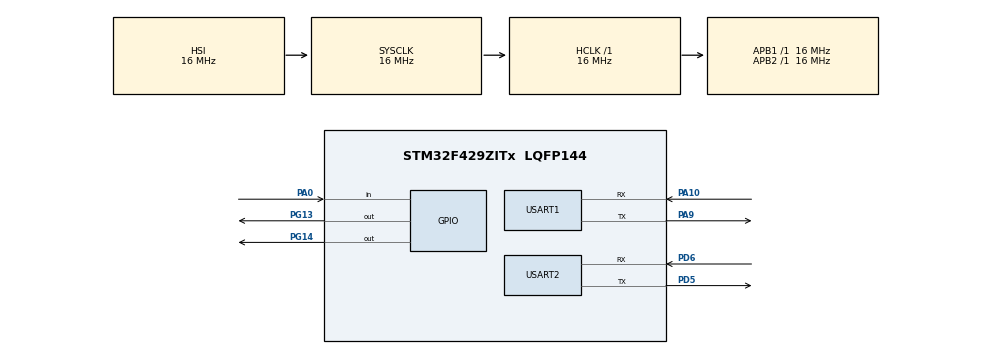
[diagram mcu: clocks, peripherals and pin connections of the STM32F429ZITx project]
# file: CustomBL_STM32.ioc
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Mcu.Family=STM32F4
Mcu.Name=STM32F429ZITx
Mcu.Package=LQFP144
NVIC.PriorityGroup=NVIC_PRIORITYGROUP_4
PA0/WKUP.Signal=GPIO_Input
PA10.Mode=Asynchronous
PA10.Signal=USART1_RX
PA9.Mode=Asynchronous
PA9.Signal=USART1_TX
PD5.Mode=Asynchronous
PD5.Signal=USART2_TX
PD6.Mode=Asynchronous
PD6.Signal=USART2_RX
PG13.GPIO_PuPd=GPIO_PULLDOWN
PG13.Signal=GPIO_Output
PG14.GPIO_PuPd=GPIO_PULLDOWN
PG14.Signal=GPIO_Output
ProjectManager.HeapSize=0x200
ProjectManager.StackSize=0x400
ProjectManager.TargetToolchain=MDK-ARM V5.32
RCC.AHBFreq_Value=16000000
RCC.APB1Freq_Value=16000000
RCC.APB2Freq_Value=16000000
RCC.CortexFreq_Value=16000000
RCC.HSE_VALUE=25000000
RCC.HSI_VALUE=16000000
RCC.LSE_VALUE=32768
RCC.SYSCLKFreq_VALUE=16000000
RCC.VCOOutputFreq_Value=192000000
USART1.VirtualMode=VM_ASYNC
USART2.VirtualMode=VM_ASYNC
VP_CRC_VS_CRC.Mode=CRC_Activate
board=custom

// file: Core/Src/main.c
/* USER CODE BEGIN Header */
/**
  ******************************************************************************
  * @file           : main.c
  * @brief          : Main program body
  ******************************************************************************
  * @attention
  *
  * Copyright (c) 2023 STMicroelectronics.
  * All rights reserved.
  *
  * This software is licensed under terms that can be found in the LICENSE file
  * in the root directory of this software component.
  * If no LICENSE file comes with this software, it is provided AS-IS.
  *
  ******************************************************************************
  */
/* USER CODE END Header */
#include <string.h>
#include <stdarg.h>
#include <stdio.h>
#include <math.h>
#include "main.h"

CRC_HandleTypeDef hcrc;

UART_HandleTypeDef huart1;
UART_HandleTypeDef huart2;

#define COM_UART huart1
#define DEBUG_UART huart2

uint8_t rx_buff[200];

void SystemClock_Config(void);
static void MX_GPIO_Init(void);
static void MX_USART1_UART_Init(void);
static void MX_USART2_UART_Init(void);
static void MX_CRC_Init(void);

/* USER CODE BEGIN 0 */

void bootloader_sendMessage(UART_HandleTypeDef UARTx, char* str)
{
	HAL_UART_Transmit(&UARTx, (uint8_t *)str, strlen(str), HAL_MAX_DELAY);
}

void bootloader_printDebugMsg(char* message, ...)
{
	char str[50];
	va_list args;
	va_start(args, message);
	vsprintf(str, message, args);
	bootloader_sendMessage(DEBUG_UART, str);
}

void BL_uart_read_data(void)
{
	uint8_t rcv_len;

	/* Command format
	 * ---------------------------------------------------------------------------
	 * | 1 byte length | 1 byte command | <command specific fields> | 4 byte CRC |
	 * ---------------------------------------------------------------------------
   *
   * read length -> read rest of the frame -> decode cmd -> call relevant function
	*/

	while(1)
	{
    memset(rx_buff, 0, 100);
		rcv_len = 0;
		bootloader_printDebugMsg("Enter Command\r\n");

		// Get the number of bytes to receive
		HAL_UART_Receive(&COM_UART, rx_buff, 1, HAL_MAX_DELAY);
    rcv_len = rx_buff[0];

    // Get the remaining frame
		HAL_UART_Receive(&COM_UART, &rx_buff[1], rcv_len, HAL_MAX_DELAY);
  	bootloader_printDebugMsg("RXed Cmd Code: 0x%x\r\n", rx_buff[1]);

		// decode the received command
		uint8_t cmd_code = rx_buff[1];
		switch(cmd_code)
		{
			case BL_GET_VER:
				bootloader_handle_getver_cmd(rx_buff);
				break;
      case BL_GET_HELP:
        bootloader_handle_gethelp_cmd(rx_buff);
				break;
      case BL_GET_CID:
        bootloader_handle_getcid_cmd(rx_buff);
				break;
      case BL_GET_RDP_STATUS:
        bootloader_handle_getrdp_cmd(rx_buff);
				break;
      case BL_GO_TO_ADDR:
        bootloader_handle_go_cmd(rx_buff);
				break;
      case BL_FLASH_ERASE:
        bootloader_handle_flash_erase_cmd(rx_buff);
				break;
      case BL_MEM_WRITE:
        bootloader_handle_mem_write_cmd(rx_buff);
				break;
      case BL_EN_RW_PROTECT:
        bootloader_handle_en_rw_protect(rx_buff);
				break;
      case BL_MEM_READ:
        bootloader_handle_mem_read(rx_buff);
				break;
      case BL_READ_SECTOR_P_STATUS:
        bootloader_handle_read_sector_protection_status(rx_buff);
				break;
      case BL_OTP_READ:
        bootloader_handle_read_otp(rx_buff);
				break;
      case BL_DIS_R_W_PROTECT:
        bootloader_handle_dis_rw_protect(rx_buff);
				break;
      case BL_UPDATE_IMAGE:
        bootloader_handle_image_update(rx_buff);
				break;
			default:
				bootloader_printDebugMsg("INVALID COMMAND: 0x%x\r\n", cmd_code);
		}
	}
}

void bootloader_set_msp_and_jump_to_reset_handler(uint32_t image_base_address)
{
	// First set the MSP
	uint32_t MSP = *((volatile uint32_t *) image_base_address);
	bootloader_printDebugMsg("Setting MSP to 0x%X\r\n", MSP);
	__set_MSP(MSP);

	// Calculate and Jump to reset handler
	uint32_t reset_handler_address = *((volatile uint32_t *) (image_base_address + 4));
	reset_handler_address |= 0x1;  // Make T bit 1

	bootloader_printDebugMsg("Reset Handler Address: 0x%x\r\n", reset_handler_address);

	void (*reset_handler) (void);
	reset_handler = (void*) reset_handler_address;
	bootloader_printDebugMsg("Jumping to image...\r\n");
	reset_handler();
}

/* USER CODE END 0 */

int main(void)
{

  /* MCU Configuration--------------------------------------------------------*/

  /* Reset of all peripherals, Initializes the Flash interface and the Systick. */
  HAL_Init();

  /* Configure the system clock */
  SystemClock_Config();

  /* Initialize all configured peripherals */
  MX_GPIO_Init();
  MX_USART1_UART_Init();
  MX_USART2_UART_Init();
  MX_CRC_Init();

  /* Infinite loop */
  while (1)
  {
		if (HAL_GPIO_ReadPin(GPIOA, GPIO_PIN_0))  // check if User button PA0 pressed
		{
			bootloader_printDebugMsg("Button pressed\r\n");
			BL_uart_read_data();
		}
		else
		{
			bootloader_printDebugMsg("Button released\r\n");
			/*
			Image selection policy:
			1/ Load image A and verify CRC
			2/ Load image B and verify CRC
			3/ if both CRC are correct, load the one with higher version number
			3.1/ if version is same, default to A
			3.2/ TODO(if version is different, fisrt update the one with lower version, later)
			4/ if only one CRC is correct, first update the other one
			5/ if both CRC are incorrect, print an error message and wait for reset
			*/
			IMAGE_data_TypeDef *pImageAData = IMAGE_A_DATA;
			IMAGE_data_TypeDef *pImageBData = IMAGE_B_DATA;

			pImageAData->image_base_address = IMAGE_A_BASE_ADDRESS;
			pImageBData->image_base_address = IMAGE_B_BASE_ADDRESS;

			uint8_t imageACrcValid = verify_image_crc(pImageAData) == VERIFY_CRC_SUCCESS;
			bootloader_printDebugMsg("Validating CRC of IMAGE A. CRC Valid: %d\r\n", imageACrcValid);

			uint8_t imageBCrcValid = verify_image_crc(pImageBData) == VERIFY_CRC_SUCCESS;
			bootloader_printDebugMsg("Validating CRC of IMAGE B. CRC Valid: %d\r\n", imageBCrcValid);

			bootloader_printDebugMsg("CRC validation complete\r\n");

			if (imageACrcValid && imageBCrcValid)
			{
				// case when both images have correct CRC
				bootloader_printDebugMsg("\r\nBoth images VALID.\r\n");
				if (pImageAData->version >= pImageBData->version)
				{
					// TODO(also update the other image, later)
					bootloader_boot_from_image(pImageAData);
				}
				else
				{
  				// TODO(also update the other image, later)
					bootloader_boot_from_image(pImageBData);
				}
			}
			else if (imageACrcValid)
			{
				// only image A CRC was correct
  			    // TODO(also update the other image instead of just erasing, later)
				IMAGE_data_TypeDef resetImageB = bootloader_get_reset_image_settings(pImageBData);
				execute_flash_erase(resetImageB.sector, 1);
				bootloader_write_image_settings(pImageBData, resetImageB);

				bootloader_boot_from_image(pImageAData);
			}
			else if (imageBCrcValid)
			{
				// only image B CRC was correct
				// TODO(also update the other image instead of just erasing, later)
				IMAGE_data_TypeDef resetImageA = bootloader_get_reset_image_settings(pImageAData);
				execute_flash_erase(resetImageA.sector, 1);
				bootloader_write_image_settings(pImageAData, resetImageA);

				bootloader_boot_from_image(pImageBData);
			}
			else
			{
				// both images are invalid
				bootloader_printDebugMsg("ERROR !!!\r\nBOTH IMAGES ARE INVALID.\r\n");

				IMAGE_data_TypeDef resetImageA = bootloader_get_reset_image_settings(pImageAData);
				IMAGE_data_TypeDef resetImageB = bootloader_get_reset_image_settings(pImageBData);

				// erase the sectors
				execute_flash_erase(resetImageA.sector, 1);
				execute_flash_erase(resetImageB.sector, 1);

				bootloader_write_image_settings(pImageAData, resetImageA);
				bootloader_write_image_settings(pImageBData, resetImageB);

				bootloader_printDebugMsg("\r\nRESET AND REPROGRAM.\r\n");
				//bootloader_printDebugMsg("BEWARE THAT IMAGES MUST BE COMPILED TO BE PLACED AT SECTOR: %d\r\n", IMAGE_PLACEMENT_SECTOR);

				while(1);
			}
		}

		uint32_t current_tick = HAL_GetTick();
		while(current_tick + 500 > HAL_GetTick());
  }
}

void SystemClock_Config(void)
{
  RCC_OscInitTypeDef RCC_OscInitStruct = {0};
  RCC_ClkInitTypeDef RCC_ClkInitStruct = {0};

  /** Configure the main internal regulator output voltage
  */
  __HAL_RCC_PWR_CLK_ENABLE();
  __HAL_PWR_VOLTAGESCALING_CONFIG(PWR_REGULATOR_VOLTAGE_SCALE3);

  /** Initializes the RCC Oscillators according to the specified parameters
  * in the RCC_OscInitTypeDef structure.
  */
  RCC_OscInitStruct.OscillatorType = RCC_OSCILLATORTYPE_HSI;
  RCC_OscInitStruct.HSIState = RCC_HSI_ON;
  RCC_OscInitStruct.HSICalibrationValue = RCC_HSICALIBRATION_DEFAULT;
  RCC_OscInitStruct.PLL.PLLState = RCC_PLL_NONE;
  if (HAL_RCC_OscConfig(&RCC_OscInitStruct) != HAL_OK)
  {
    Error_Handler();
  }

  /** Initializes the CPU, AHB and APB buses clocks
  */
  RCC_ClkInitStruct.ClockType = RCC_CLOCKTYPE_HCLK|RCC_CLOCKTYPE_SYSCLK
                              |RCC_CLOCKTYPE_PCLK1|RCC_CLOCKTYPE_PCLK2;
  RCC_ClkInitStruct.SYSCLKSource = RCC_SYSCLKSOURCE_HSI;
  RCC_ClkInitStruct.AHBCLKDivider = RCC_SYSCLK_DIV1;
  RCC_ClkInitStruct.APB1CLKDivider = RCC_HCLK_DIV1;
  RCC_ClkInitStruct.APB2CLKDivider = RCC_HCLK_DIV1;

  if (HAL_RCC_ClockConfig(&RCC_ClkInitStruct, FLASH_LATENCY_0) != HAL_OK)
  {
    Error_Handler();
  }
}

static void MX_CRC_Init(void)
{

  hcrc.Instance = CRC;
  if (HAL_CRC_Init(&hcrc) != HAL_OK)
  {
    Error_Handler();
  }

}

static void MX_USART1_UART_Init(void)
{

  huart1.Instance = USART1;
  huart1.Init.BaudRate = 115200;
  huart1.Init.WordLength = UART_WORDLENGTH_8B;
  huart1.Init.StopBits = UART_STOPBITS_1;
  huart1.Init.Parity = UART_PARITY_NONE;
  huart1.Init.Mode = UART_MODE_TX_RX;
  huart1.Init.HwFlowCtl = UART_HWCONTROL_NONE;
  huart1.Init.OverSampling = UART_OVERSAMPLING_16;
  if (HAL_UART_Init(&huart1) != HAL_OK)
  {
    Error_Handler();
  }

}

static void MX_USART2_UART_Init(void)
{

  huart2.Instance = USART2;
  huart2.Init.BaudRate = 115200;
  huart2.Init.WordLength = UART_WORDLENGTH_8B;
  huart2.Init.StopBits = UART_STOPBITS_1;
  huart2.Init.Parity = UART_PARITY_NONE;
  huart2.Init.Mode = UART_MODE_TX_RX;
  huart2.Init.HwFlowCtl = UART_HWCONTROL_NONE;
  huart2.Init.OverSampling = UART_OVERSAMPLING_16;
  if (HAL_UART_Init(&huart2) != HAL_OK)
  {
    Error_Handler();
  }

}

static void MX_GPIO_Init(void)
{
  GPIO_InitTypeDef GPIO_InitStruct = {0};

  /* GPIO Ports Clock Enable */
  __HAL_RCC_GPIOA_CLK_ENABLE();
  __HAL_RCC_GPIOD_CLK_ENABLE();
  __HAL_RCC_GPIOG_CLK_ENABLE();

  /*Configure GPIO pin Output Level */
  HAL_GPIO_WritePin(GPIOG, GPIO_PIN_13|GPIO_PIN_14, GPIO_PIN_RESET);

  /*Configure GPIO pin : PA0 */
  GPIO_InitStruct.Pin = GPIO_PIN_0;
  GPIO_InitStruct.Mode = GPIO_MODE_INPUT;
  GPIO_InitStruct.Pull = GPIO_NOPULL;
  HAL_GPIO_Init(GPIOA, &GPIO_InitStruct);

  /*Configure GPIO pins : PG13 PG14 */
  GPIO_InitStruct.Pin = GPIO_PIN_13|GPIO_PIN_14;
  GPIO_InitStruct.Mode = GPIO_MODE_OUTPUT_PP;
  GPIO_InitStruct.Pull = GPIO_PULLDOWN;
  GPIO_InitStruct.Speed = GPIO_SPEED_FREQ_LOW;
  HAL_GPIO_Init(GPIOG, &GPIO_InitStruct);

}

void Error_Handler(void)
{
  __disable_irq();
  while (1)
  {
  }
}

uint8_t get_bootloader_version(void)
{
  return BL_VERSION;
}

void bootloader_send_ack(uint8_t follow_len)
{
  // follow_len is the length of the data to be sent after the
  // ACK from BL to the HOST
  uint8_t buff[2];
  buff[0] = BL_ACK;
  buff[1] = follow_len;
  HAL_UART_Transmit(&COM_UART, buff, 2, HAL_MAX_DELAY);
}

void bootloader_send_nack(void)
{
  const uint8_t nack = BL_NACK;
  HAL_UART_Transmit(&COM_UART, &nack, 1, HAL_MAX_DELAY);
}

uint32_t get_CRC32(uint8_t *pData, uint32_t len)
{
	// compute the CRC of pData for length len and match with expected_crc
  uint32_t crcVal = 0xff;

	/* Reset CRC Calculation Unit */
  __HAL_CRC_DR_RESET(&hcrc);

  for (uint32_t i=0; i<len; i++)
  {
    uint32_t data = pData[i];
    crcVal = HAL_CRC_Accumulate(&hcrc, &data, 1);
  }
	 /* Reset CRC Calculation Unit */
  __HAL_CRC_DR_RESET(&hcrc);

	return crcVal;
}

uint8_t verify_crc (uint8_t *pData, uint32_t len, uint32_t expected_crc)
{
  if (get_CRC32(pData, len) == expected_crc)
  {
    return VERIFY_CRC_SUCCESS;
  }
  else
  {
    /*bootloader_printDebugMsg("BL CRC: 0x%x\r\nReceived:\r\n", crcVal);
		for (uint32_t i=0; i<len; i++)
		{
			bootloader_printDebugMsg(" 0x%x ", pData[i]);
		}*/
		return VERIFY_CRC_FAIL;
  }
}

void bootloader_uart_write_data(uint8_t *pBuffer, uint32_t len)
{
  HAL_UART_Transmit(&COM_UART, pBuffer, len, HAL_MAX_DELAY);
}

void bootloader_handle_getver_cmd(uint8_t* cmd)
{
	bootloader_printDebugMsg("reached: bootloader_handle_getver_cmd\r\n");
  bootloader_send_ack(1);
  uint8_t bl_version= get_bootloader_version();
  bootloader_uart_write_data(&bl_version, 1);
}

void bootloader_handle_gethelp_cmd(uint8_t* pBuffer)
{
  bootloader_printDebugMsg("reached: bootloader_handle_gethelp_cmd\r\n");
  //char str[] = "gethelp not implemented\r\n";
  char str [] = "";  //TODO(implement, later)
  bootloader_send_ack(strlen(str));
  bootloader_uart_write_data((uint8_t*)str, strlen(str));
}

void bootloader_handle_getcid_cmd(uint8_t *pBuffer)
{
	bootloader_printDebugMsg("reached: bootloader_handle_getcid_cmd\r\n");

	uint32_t mcu_idcode = DBGMCU->IDCODE;
	uint16_t dev_id = mcu_idcode & ((1 << 12) - 1);  // device id is [11:0]

	bootloader_send_ack(sizeof(dev_id));
	bootloader_uart_write_data((uint8_t*)&dev_id, sizeof(dev_id));

}

void bootloader_handle_getrdp_cmd(uint8_t *pBuffer)
{

	bootloader_printDebugMsg("reached: bootloader_handle_getrdp_cmd\r\n");

	// RDP is a part of Option Bytes in Flash memory interface
	// this can be read from FLASH_OPTCR[15:8]
	uint32_t optcr = FLASH->OPTCR;
	uint8_t rdp = (optcr & FLASH_OPTCR_RDP_Msk) >> FLASH_OPTCR_RDP_Pos;

	bootloader_send_ack(sizeof(rdp));
	bootloader_uart_write_data(&rdp, sizeof(rdp));

}

void bootloader_handle_go_cmd(uint8_t *pBuffer)
{
  /* Frame format
	 * ---------------------------------------------------------------------------
	 * | 1 byte length | 1 byte command |  4 byte Jump-to Address   | 4 byte CRC |
	 * ---------------------------------------------------------------------------
   */
	bootloader_send_ack(1);
  uint8_t dummy_ack = 0x0;  //TODO(Implement a function to verify address and send correct ACK/NACK)
	bootloader_uart_write_data(&dummy_ack, sizeof(dummy_ack));

  bootloader_printDebugMsg("reached: bootloader_handle_go_cmd\r\n");
  uint32_t addr = *(uint32_t*) &pBuffer[2];

  /* the following code is to get the reset handler address from the incoming address
	 * and jump to it. Uncomment if needed

    uint32_t app_reset_handler_addr = *((uint32_t*)(addr + 4));
    app_reset_handler_addr |= 0x1;  // Make T bit 1
    bootloader_printDebugMsg("Jumping to address: 0x%x\r\n", app_reset_handler_addr);
    void (*app_reset_handler) (void) = (void*) app_reset_handler_addr;
    app_reset_handler();

	*/

	// Host has to make sure that correct address is being passed.
	// We just jump to the passed address
	addr |= 0x1;  // Make T bit 1
  bootloader_printDebugMsg("Jumping to address: 0x%x\r\n", addr);
  void (*jump_to) (void) = (void*) addr;
  jump_to();
}

void bootloader_handle_flash_erase_cmd(uint8_t *pBuffer)
{
  /* Frame format
	 * -----------------------------------------------------------------------------------------------------------
	 * | 1 byte length | 1 byte command |  1 byte sector index | 1 byte total number of sectors | 4 byte CRC |
	 * -----------------------------------------------------------------------------------------------------------
   */

	bootloader_printDebugMsg("reached: bootloader_handle_flash_erase_cmd\r\n");
	bootloader_send_ack(1);

	uint8_t sector_idx = pBuffer[2];
	uint8_t nb_sectors = pBuffer[3];
	uint8_t status = execute_flash_erase(sector_idx, nb_sectors);
	bootloader_uart_write_data(&status, sizeof(status));
}

void bootloader_handle_mem_write_cmd(uint8_t *pBuffer)
{
  /* Frame format
	 * -----------------------------------------------------------------------------------------------------------
	 * | 1 byte length | 1 byte command |  4 byte Base Address | 1 byte length of payload | PAYLOAD | 4 byte CRC |
	 * -----------------------------------------------------------------------------------------------------------
   */

	// Flash needs to be erased before writing otherwise written data won't be persistent
	//TODO(identiy sector from Address and erase it)

	bootloader_printDebugMsg("reached: bootloader_handle_mem_write_cmd\r\n");
	bootloader_send_ack(1);

  uint8_t status = HAL_OK;

  uint32_t mem_base_addr = *((uint32_t*) &pBuffer[2]);
  uint8_t payload_len = pBuffer[6];

  flash_execute_mem_write(&pBuffer[7], mem_base_addr, payload_len);

	bootloader_uart_write_data(&status, sizeof(status));
}

void bootloader_handle_en_rw_protect(uint8_t *pBuffer)
{
}

void bootloader_handle_mem_read (uint8_t *pBuffer)
{
}

void bootloader_handle_read_sector_protection_status(uint8_t *pBuffer)
{
}

void bootloader_handle_read_otp(uint8_t *pBuffer)
{
}

void bootloader_handle_dis_rw_protect(uint8_t *pBuffer)
{
}

void bootloader_handle_image_update(uint8_t *pBuffer)
{
  /* Frame format
	 * -------------------------------------------------------------
	 * | 1 byte length | 1 byte command | 4 bytes total image size |
	 * -------------------------------------------------------------
   */

   /* After receiving the command, image would be received in subsequent frames of 128 byte each
    * (except the last frame which can have any number of bytes from [1 - 128])
    *
    * Image Frame format
    * ---------------------------------------------------------
	  * | 1 byte length of image data | image data | 4 byte CRC |
	  * ---------------------------------------------------------
    */

 	bootloader_printDebugMsg("reached: bootloader_handle_image_update\r\n");

  /* All the frame reception related stuff */
	uint32_t rx_image_size = *((uint32_t *) &pBuffer[2]);
  if (rx_image_size > (uint32_t) IMAGE_MAX_SIZE)
  {
    bootloader_send_nack();
		return;
  }

  bootloader_send_ack(0);

  uint8_t status = HAL_OK;

	// calculate number of frames to receive
	uint8_t total_image_frames = rx_image_size / 128;
	if (rx_image_size % 128 != 0)
	{
		total_image_frames++;
	}

  uint8_t image_rx_buff[150];
	uint8_t image_frame_data_len;
	uint8_t num_frames_received = 0;
	uint8_t ready = 0x1;

	bootloader_printDebugMsg("image size: %d\r\n", rx_image_size);
	bootloader_printDebugMsg("Frames to be received: %d\r\n", total_image_frames);

	// Get Image-to-update data
	IMAGE_data_TypeDef* pImageData = get_image_to_update();
	// copy on temp struct as pImage* data wil get erased
	IMAGE_data_TypeDef temp_pImageData = *pImageData;

	// We don't know if *pImageData is valid or not, so use another object with default settings
	IMAGE_data_TypeDef resetImage = bootloader_get_reset_image_settings(pImageData);
	uint32_t image_to_update_address = resetImage.image_base_address;

	// perform a sector erase before writing
	if (execute_flash_erase(resetImage.sector , 1) != HAL_OK)
	{
		bootloader_printDebugMsg("!!! ERROR while erasing flash sector %d.\r\nReturning..\r\n", resetImage.sector);
		return;
	}

  // get all image frames from the HOST and write to mem
	while(num_frames_received < total_image_frames)
	{
		memset(image_rx_buff, 0, 150);

		bootloader_uart_write_data(&ready, 1);
		// receive the image length from HOST
		while(HAL_UART_Receive(&COM_UART, image_rx_buff, 1, HAL_MAX_DELAY) != HAL_OK);
		image_frame_data_len = image_rx_buff[0];

		// receive the remaining image frame from HOST
		HAL_UART_Receive(&COM_UART, &image_rx_buff[1], image_frame_data_len + 4, HAL_MAX_DELAY);  // +4 for CRC bytes

		// verify CRC
		uint32_t crc_host = *((uint32_t *) (image_rx_buff + image_frame_data_len + 1));  // last 4 bytes of the frame
		uint8_t crc_status = verify_crc(image_rx_buff, image_frame_data_len + 1, crc_host);

		if (crc_status == VERIFY_CRC_FAIL)
		{
			bootloader_send_nack();
			bootloader_printDebugMsg("\nCRC CHECK FAILED !!! -- host CRC: 0x%x\r\n", crc_host);
			return;
		}
		bootloader_send_ack(1);  // CRC check passed

		// write to mem and update address
		flash_execute_mem_write(&image_rx_buff[1], image_to_update_address, (uint32_t) image_frame_data_len);
		image_to_update_address += image_frame_data_len;
		num_frames_received++;

		bootloader_printDebugMsg("Frames Received: %d/%d\r", num_frames_received, total_image_frames);
		bootloader_uart_write_data(&status, 1);
	}

	// Image has been written
	// Perform post processing
	uint8_t temp_buff[pImageData->size];

	//TODO(version may also be incorrect if *pImageData was corrupt, figure out a  way, later)
	resetImage.version = temp_pImageData.version + 1;
	resetImage.size = rx_image_size;
	resetImage.crc = get_CRC32((uint8_t*)resetImage.image_base_address, rx_image_size);

	// remember, we can write only once after erasing.
	bootloader_write_image_settings(pImageData, resetImage);

	bootloader_printDebugMsg("IMAGE %c written successfully.\r\n", bootloader_get_image_name(pImageData));
	bootloader_printDebugMsg("Version: %d, Size: %d, CRC: 0x%x\r\n", pImageData->version, pImageData->size, pImageData->crc);
	bootloader_printDebugMsg("Version: %d, Size: %d, CRC: 0x%x\r\n", resetImage.version, resetImage.size, resetImage.crc);
}

IMAGE_data_TypeDef bootloader_get_reset_image_settings(IMAGE_data_TypeDef* pImageData)
{
	/*
	Reset:
	1/ CRC to 0xFFFFFFFF
	2/ size to 0
	3/ image_base_address to macro defined address
	4/ sector to macro defined sector
	5/ version to 0
	DONT FORGET! -> Flash can't be written directly, so create a temp obj and copy it
	*/

	IMAGE_data_TypeDef temp;
	temp.crc = 0xFFFFFFFF;
	temp.size = 0;
	temp.version = 0;

	if (pImageData == IMAGE_A_DATA)
	{
		temp.image_base_address = IMAGE_A_BASE_ADDRESS;
		temp.sector = IMAGE_A_SECTOR;
	}
	else
	{
		temp.image_base_address = IMAGE_B_BASE_ADDRESS;
		temp.sector = IMAGE_B_SECTOR;
	}

	// Don't write here as flash needs to be erased for that
	//bootloader_write_image_settings(pImageData, temp);

	return temp;
}

void bootloader_write_image_settings(IMAGE_data_TypeDef* pImageData, IMAGE_data_TypeDef ImageDataToWrite)
{
	bootloader_printDebugMsg("Writing %c Image settings\r\n", bootloader_get_image_name(pImageData));
	flash_execute_mem_write((uint8_t*) &ImageDataToWrite, (uint32_t) pImageData, sizeof(IMAGE_data_TypeDef));
}

uint8_t verify_image_crc(IMAGE_data_TypeDef* pImageData)
{
		//TODO(check if this is needed, later)
	if (pImageData->crc == 0xFFFFFFFF) {
		return VERIFY_CRC_FAIL;
	}
	return verify_crc((uint8_t *) pImageData->image_base_address, pImageData->size, pImageData->crc);
}

IMAGE_data_TypeDef* get_image_to_update(void)
{
	/*
	Find which image is to be updated
	Erase the sector of that image

	Procedure:
	1/ verify crc of both images
	2/ if crc verification of an image fails, select it
	3/ if crc verification of both images passes, pick the one with lower version number
	4/ if versions are same, pick image A
	*/

	bootloader_printDebugMsg("reached: get_image_to_update\r\n");

	IMAGE_data_TypeDef* pImageAData = IMAGE_A_DATA;
	IMAGE_data_TypeDef* pImageBData = IMAGE_B_DATA;

	if (verify_image_crc(pImageAData) == VERIFY_CRC_FAIL)
	{
		bootloader_printDebugMsg("IMAGE A CRC Failed\r\n");
		return pImageAData;
	}
	if (verify_image_crc(pImageBData) == VERIFY_CRC_FAIL)
	{
		bootloader_printDebugMsg("IMAGE B CRC Failed\r\n");
		return pImageBData;
	}
	bootloader_printDebugMsg("versions A, B: %d, %d\r\n", pImageAData->version, pImageAData->version);
	if (pImageAData->version <= pImageBData->version)
	{
		return pImageAData;
	}
	else
	{
		return pImageBData;
	}
}

uint8_t flash_execute_mem_write(uint8_t* pBuffer, uint32_t dest_base_addr, uint32_t number_of_bytes)
{
  uint8_t *pMem = (uint8_t *)dest_base_addr;

	//bootloader_printDebugMsg("reached: flash_execute_mem_write\r\n");
	//bootloader_printDebugMsg("Dest Mem base addr: 0x%x\r\n", pMem);
	//bootloader_printDebugMsg("Length of Write:    %d\r\n", number_of_bytes);

	HAL_FLASH_Unlock();

	FLASH->CR &= ~(FLASH_CR_PSIZE); // set program size to byte since we are writing byte-by-byte later
	FLASH->CR |= FLASH_CR_PG; // set PG in FLASH_CR

	while (number_of_bytes > 0)
  {
    // wait till flash is busy
		FLASH_WaitForLastOperation(HAL_MAX_DELAY);
		//while(FLASH->SR & (1 << 16));

		// copy data
		*pMem = *pBuffer;
		//bootloader_printDebugMsg("pMem: 0x%x, pPayload: 0x%x\r\n", *pMem, *pBuffer);
    pMem++;
    pBuffer++;
    number_of_bytes--;

		// wait for FLASH_SR.BSY to get cleared
		//while(FLASH->SR & FLASH_SR_BSY_Msk);
  }

	FLASH_WaitForLastOperation(HAL_MAX_DELAY);
	FLASH->CR &= ~(FLASH_CR_PG);

	HAL_FLASH_Lock();
	return HAL_OK;
}

uint8_t execute_flash_erase(uint8_t sector_number , uint8_t total_number_of_sector)
{
	bootloader_printDebugMsg("reached: execute_flash_erase\r\n");

  FLASH_EraseInitTypeDef flashErase;
 	uint32_t sector_error = 0;

	if (sector_number == 0xFF)  // 0xFF indicates mass erase
	{
		bootloader_printDebugMsg("Performing MASS ERASE\r\n");
		flashErase.TypeErase = FLASH_TYPEERASE_MASSERASE;
		flashErase.Banks = FLASH_BANK_BOTH;
	}
	else if (sector_number + total_number_of_sector <= FLASH_SECTOR_TOTAL)
	{
		bootloader_printDebugMsg("Erasing sectors..\r\n");
		bootloader_printDebugMsg("First sector: %d, number of sectors: %d\r\n", sector_number, total_number_of_sector);
		flashErase.TypeErase = FLASH_TYPEERASE_SECTORS;
		flashErase.Sector =  sector_number;
		flashErase.NbSectors = total_number_of_sector;
		flashErase.VoltageRange = FLASH_VOLTAGE_RANGE_3;
	}
	else
	{
		bootloader_printDebugMsg("INVALID SECTOR CHOICE!!!\r\n");
		return HAL_ERROR;
	}

	HAL_FLASH_Unlock();
	bootloader_printDebugMsg("Begin Erase...\r\n");
	while(HAL_FLASHEx_Erase(&flashErase, &sector_error) != HAL_OK);
	bootloader_printDebugMsg("Erase Done.\r\n");
	HAL_FLASH_Lock();

  return HAL_OK;
}

void bootloader_boot_from_image(IMAGE_data_TypeDef* pImageData)
{
	/*
	to boot from an image,
	1/ first Erase the placement sector (IMAGE_PLACEMENT_SECTOR)
	2/ Then load the image to placement address (IMAGE_PLACEMENT_ADDRESS)
	3/ Get the reset handler and jump to it
	*/

	char image_name = bootloader_get_image_name(pImageData);

	execute_flash_erase(IMAGE_PLACEMENT_SECTOR, 1);
	bootloader_printDebugMsg("\r\nLoading IMAGE %c to SECTOR %d\r\n", image_name, IMAGE_PLACEMENT_SECTOR);
	flash_execute_mem_write((uint8_t *) pImageData->image_base_address, (uint32_t) IMAGE_PLACEMENT_ADDRESS, pImageData->size);

	bootloader_printDebugMsg("Booting from IMAGE: %c\r\n", image_name);

	bootloader_set_msp_and_jump_to_reset_handler((uint32_t) IMAGE_PLACEMENT_ADDRESS);
}

char bootloader_get_image_name(IMAGE_data_TypeDef* pImageData)
{
	if (pImageData == IMAGE_A_DATA)
	{
		return 'A';
	}
	else
	{
		return 'B';
	}
}
